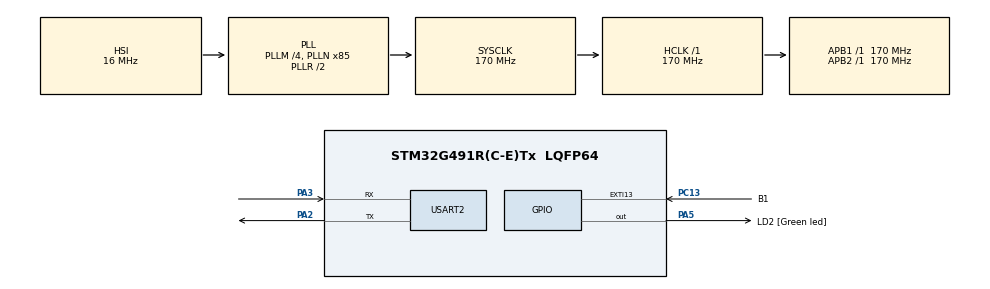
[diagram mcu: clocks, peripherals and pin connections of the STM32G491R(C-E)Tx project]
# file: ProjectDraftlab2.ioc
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Mcu.Family=STM32G4
Mcu.Name=STM32G491R(C-E)Tx
Mcu.Package=LQFP64
NVIC.EXTI15_10_IRQn=true\:0\:0\:false\:false\:true\:true\:true\:true
NVIC.PriorityGroup=NVIC_PRIORITYGROUP_4
NVIC.TIM6_DAC_IRQn=true\:0\:0\:false\:false\:true\:true\:true\:true
NVIC.TIM7_IRQn=true\:0\:0\:false\:false\:true\:true\:true\:true
PA13.GPIO_Label=T_SWDIO
PA13.Signal=SYS_JTMS-SWDIO
PA14.GPIO_Label=T_SWCLK
PA14.Signal=SYS_JTCK-SWCLK
PA2.Mode=Asynchronous
PA2.Signal=USART2_TX
PA3.Mode=Asynchronous
PA3.Signal=USART2_RX
PA5.GPIO_Label=LD2 [Green led]
PA5.Signal=GPIO_Output
PB3.GPIO_Label=T_SWO
PB3.Signal=SYS_JTDO-SWO
PC13.GPIO_Label=B1
PC13.GPIO_PuPd=GPIO_PULLDOWN
PC13.Signal=GPXTI13
PC14-OSC32_IN.GPIO_Label=RCC_OSC32_IN
PC14-OSC32_IN.Signal=RCC_OSC32_IN
PC15-OSC32_OUT.GPIO_Label=RCC_OSC32_OUT
PC15-OSC32_OUT.Signal=RCC_OSC32_OUT
PF0-OSC_IN.GPIO_Label=RCC_OSC_IN
PF0-OSC_IN.Signal=RCC_OSC_IN
PF1-OSC_OUT.GPIO_Label=RCC_OSC_OUT
PF1-OSC_OUT.Signal=RCC_OSC_OUT
ProjectManager.HeapSize=0x200
ProjectManager.StackSize=0x400
ProjectManager.TargetToolchain=STM32CubeIDE
RCC.ADC12Freq_Value=170000000
RCC.ADC345Freq_Value=170000000
RCC.AHBFreq_Value=170000000
RCC.APB1Freq_Value=170000000
RCC.APB1TimFreq_Value=170000000
RCC.APB2Freq_Value=170000000
RCC.APB2TimFreq_Value=170000000
RCC.CortexFreq_Value=170000000
RCC.EXTERNAL_CLOCK_VALUE=12288000
RCC.HCLKFreq_Value=170000000
RCC.HSE_VALUE=24000000
RCC.HSI48_VALUE=48000000
RCC.HSI_VALUE=16000000
RCC.LSE_VALUE=32768
RCC.PLLM=RCC_PLLM_DIV4
RCC.PLLN=85
RCC.RTCClockSelection=RCC_RTCCLKSOURCE_LSE
RCC.SYSCLKFreq_VALUE=170000000
RCC.SYSCLKSource=RCC_SYSCLKSOURCE_PLLCLK
RCC.USBFreq_Value=48000000
RCC.VCOOutputFreq_Value=340000000
TIM6.PeriodNoDither=4999
TIM6.Prescaler=16999
TIM7.PeriodNoDither=9
TIM7.Prescaler=16999
USART2.VirtualMode-Asynchronous=VM_ASYNC
VP_SYS_VS_DBSignals.Mode=DisableDeadBatterySignals
VP_TIM6_VS_ClockSourceINT.Mode=Enable_Timer
VP_TIM7_VS_ClockSourceINT.Mode=Enable_Timer
board=NUCLEO-G491RE

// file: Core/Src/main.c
/* USER CODE BEGIN Header */
/**
  ******************************************************************************
  * @file           : main.c
  * @brief          : Main program body
  ******************************************************************************
  * @attention
  *
  * Copyright (c) 2026 STMicroelectronics.
  * All rights reserved.
  *
  * This software is licensed under terms that can be found in the LICENSE file
  * in the root directory of this software component.
  * If no LICENSE file comes with this software, it is provided AS-IS.
  *
  ******************************************************************************
  */
/* USER CODE END Header */
#include "main.h"
#include "tim.h"
#include "usart.h"
#include "gpio.h"

void SystemClock_Config(void);

/* USER CODE BEGIN 0 */
char msg[] = "Hello\r\n";
volatile uint32_t c =0;
volatile uint32_t B1_state =0;

/* USER CODE END 0 */

int main(void)
{

  /* MCU Configuration--------------------------------------------------------*/

  /* Reset of all peripherals, Initializes the Flash interface and the Systick. */
  HAL_Init();

  /* Configure the system clock */
  SystemClock_Config();

  /* Initialize all configured peripherals */
  MX_GPIO_Init();
  MX_TIM6_Init();
  MX_USART2_UART_Init();
  MX_TIM7_Init();
  /* USER CODE BEGIN 2 */
  HAL_TIM_Base_Start_IT(&htim6);
  HAL_TIM_Base_Start_IT(&htim7);

  /* USER CODE END 2 */

  /* Infinite loop */
  /* USER CODE BEGIN WHILE */
  while (1)
  {
	  if(c> 1999){
	  HAL_UART_Transmit(&huart2, (uint8_t*) msg, 7, HAL_MAX_DELAY);
	  c=0;
	  }
//		if(c%2 == 0){
//			B1_state=HAL_GPIO_ReadPin(B1_GPIO_Port, B1_Pin);
//			if(B1_state != GPIO_PIN_RESET){
//				HAL_UART_Transmit(&huart2, (uint8_t*) "UP\r\n", 4, HAL_MAX_DELAY);
//
//			}
//		}
//	  HAL_GPIO_TogglePin(GPIOA, LD2_Pin);
//	  HAL_Delay(1000);
    /* USER CODE END WHILE */

  }
}

void SystemClock_Config(void)
{
  RCC_OscInitTypeDef RCC_OscInitStruct = {0};
  RCC_ClkInitTypeDef RCC_ClkInitStruct = {0};

  /** Configure the main internal regulator output voltage
  */
  HAL_PWREx_ControlVoltageScaling(PWR_REGULATOR_VOLTAGE_SCALE1_BOOST);

  /** Initializes the RCC Oscillators according to the specified parameters
  * in the RCC_OscInitTypeDef structure.
  */
  RCC_OscInitStruct.OscillatorType = RCC_OSCILLATORTYPE_HSI;
  RCC_OscInitStruct.HSIState = RCC_HSI_ON;
  RCC_OscInitStruct.HSICalibrationValue = RCC_HSICALIBRATION_DEFAULT;
  RCC_OscInitStruct.PLL.PLLState = RCC_PLL_ON;
  RCC_OscInitStruct.PLL.PLLSource = RCC_PLLSOURCE_HSI;
  RCC_OscInitStruct.PLL.PLLM = RCC_PLLM_DIV4;
  RCC_OscInitStruct.PLL.PLLN = 85;
  RCC_OscInitStruct.PLL.PLLP = RCC_PLLP_DIV2;
  RCC_OscInitStruct.PLL.PLLQ = RCC_PLLQ_DIV2;
  RCC_OscInitStruct.PLL.PLLR = RCC_PLLR_DIV2;
  if (HAL_RCC_OscConfig(&RCC_OscInitStruct) != HAL_OK)
  {
    Error_Handler();
  }

  /** Initializes the CPU, AHB and APB buses clocks
  */
  RCC_ClkInitStruct.ClockType = RCC_CLOCKTYPE_HCLK|RCC_CLOCKTYPE_SYSCLK
                              |RCC_CLOCKTYPE_PCLK1|RCC_CLOCKTYPE_PCLK2;
  RCC_ClkInitStruct.SYSCLKSource = RCC_SYSCLKSOURCE_PLLCLK;
  RCC_ClkInitStruct.AHBCLKDivider = RCC_SYSCLK_DIV1;
  RCC_ClkInitStruct.APB1CLKDivider = RCC_HCLK_DIV1;
  RCC_ClkInitStruct.APB2CLKDivider = RCC_HCLK_DIV1;

  if (HAL_RCC_ClockConfig(&RCC_ClkInitStruct, FLASH_LATENCY_4) != HAL_OK)
  {
    Error_Handler();
  }
}

/* USER CODE BEGIN 4 */

void HAL_TIM_PeriodElapsedCallback(TIM_HandleTypeDef *htim){
	if(htim->Instance == TIM6){
		HAL_GPIO_TogglePin(GPIOA, LD2_Pin);
	}
	if(htim -> Instance == TIM7){
		c = c+1;
	}
}

void HAL_GPIO_EXTI_Callback(uint16_t GPIO_Pin){
	if(GPIO_Pin == B1_Pin){
			HAL_UART_Transmit(&huart2, (uint8_t*) "UP\r\n", 4, HAL_MAX_DELAY);

	}
}

/* USER CODE END 4 */

void Error_Handler(void)
{
  __disable_irq();
  while (1)
  {
  }
}
